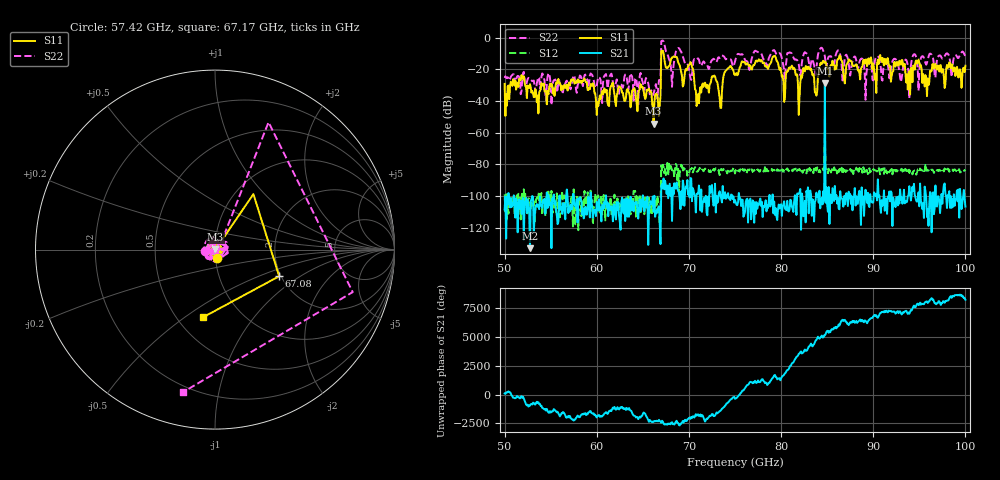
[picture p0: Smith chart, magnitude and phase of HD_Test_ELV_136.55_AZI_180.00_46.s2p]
! 11/25/2026 9:26:56 AM
! C:\ANRITSUVNA\TEMP\TEMP.S2P
! CHANNEL.1
! TR.MEASUREMENT
! RAW.DATA
# HZ S RI R 50.0
! FREQ.HZ  S11RE  S11IM  S21RE  S21IM  S12RE  S12IM  S22RE  S22IM
!; PortSelection: Port_12
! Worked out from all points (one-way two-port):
!   601 points, 50 GHz to 100 GHz, reference 50 ohm
!   highest |S21| = -28.91 dB at 84.75 GHz (marker M1); lowest = -133.0 dB at 52.75 GHz (marker M2)
!   lowest |S11| = -54.4 dB at 66.17 GHz (marker M3), VSWR 1.00, Z = 50.1 + j0.148 ohm
!   |S11| at or under -10 dB: start of sweep to 67 GHz; 67.24 GHz to end of sweep
!   |S22| runs from -42.6 to -1.8 dB; largest |S21 - S12| = 0.036
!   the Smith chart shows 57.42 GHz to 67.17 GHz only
!   S11 on the Smith chart (normalised r, x): 57.42 GHz: 1.02, -0.10; 67.08 GHz: 1.96, -0.68; 67.17 GHz: 0.67, -0.59
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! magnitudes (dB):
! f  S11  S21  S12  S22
! 50 GHz  -29.2  -108.6  -99.1  -25.4
! 52.75 GHz  -29.4  -133.0  -102.5  -26.5
! 57.42 GHz  -26.3  -98.7  -119.4  -25.2
! 58.42 GHz  -27.2  -111.8  -103.4  -29.0
! 60.17 GHz  -43.1  -109.4  -99.7  -24.8
! 61.67 GHz  -28.7  -108.0  -111.2  -24.5
! 66.17 GHz  -54.4  -110.1  -106.1  -35.4
! 66.67 GHz  -42.0  -107.8  -106.1  -32.2
! 67.08 GHz  -8.2  -92.5  -84.6  -1.9
! 67.17 GHz  -8.4  -95.3  -80.4  -1.8
! 70.17 GHz  -15.4  -88.7  -83.1  -25.7
! 70.92 GHz  -40.7  -98.5  -84.7  -13.3
! 75 GHz  -23.7  -102.6  -85.8  -15.0
! 79.25 GHz  -11.8  -103.6  -83.6  -7.9
! 80.25 GHz  -27.6  -105.5  -83.6  -17.6
! 83.42 GHz  -23.8  -102.2  -84.1  -13.6
! 84.75 GHz  -15.1  -28.9  -63.4  -11.8
! 91.67 GHz  -16.7  -101.5  -84.9  -20.4
! 93.75 GHz  -32.8  -100.1  -84.3  -17.2
! 94.83 GHz  -15.0  -102.5  -83.2  -20.3
! 95.83 GHz  -37.0  -113.4  -84.2  -15.9
! 100 GHz  -17.7  -106.8  -84.4  -12.1
